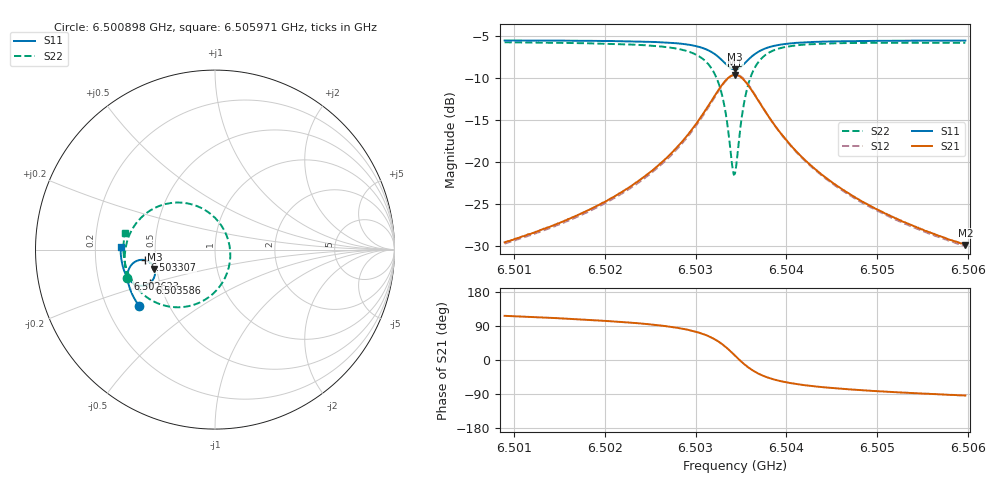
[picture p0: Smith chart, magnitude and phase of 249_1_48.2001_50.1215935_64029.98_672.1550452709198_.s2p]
#  HZ  S  RI  R  50.00
! Rohde & Schwarz Vector Network Analyzer
! Rohde-Schwarz,ZNB20-2Port,1311601062101988,3.16
! Created: UTC 3/20/2024, 11:47:10 AM
! freq[Hz]  re:S11  im:S11  re:S21  im:S21  re:S12  im:S12  re:S22  im:S22
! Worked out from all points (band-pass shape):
!   401 points, 6.500898 GHz to 6.505971 GHz, reference 50 ohm
!   highest |S21| = -9.67 dB at 6.503434 GHz (marker M1); lowest = -29.9 dB at 6.505971 GHz (marker M2)
!   |S21| within 3 dB of the highest: 6.503181 GHz to 6.503688 GHz (507.3 kHz wide, 0.0078 % of centre)
!   lowest |S11| = -9.0 dB at 6.503434 GHz (marker M3), VSWR 2.10, Z = 24.3 - j5.98 ohm
!   |S11| at or under -10 dB: nowhere
!   |S22| runs from -21.5 to -5.8 dB; largest |S21 - S12| = 0.011
!   S11 on the Smith chart (normalised r, x): 6.500898 GHz: 0.34, -0.29; 6.502623 GHz: 0.33, -0.15; 6.503307 GHz: 0.44, -0.06; 6.503586 GHz: 0.44, -0.20; 6.505971 GHz: 0.31, +0.01
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6.5008977e9  -0.4237 -0.3125  -0.0149 0.0297  -0.0133 0.0298  -0.4885 -0.1588
6.5017474e9  -0.4606 -0.2501  -0.0144 0.0473  -0.0119 0.0469  -0.5025 -0.0692
6.5022421e9  -0.4781 -0.2064  -0.0111 0.068  -0.00816 0.067  -0.4992 0.000904
6.5025972e9  -0.4867 -0.167  -0.00256 0.096  0.00108 0.0937  -0.4808 0.0721
6.5026226e9  -0.487 -0.1638  -0.00147 0.0987  0.00221 0.0963  -0.4783 0.0782
6.5029143e9  -0.4833 -0.1193  0.0255 0.1424  0.0294 0.138  -0.4219 0.1672
6.5031045e9  -0.4621 -0.0812  0.0796 0.1844  0.0821 0.1782  -0.3185 0.2397
6.5032187e9  -0.4297 -0.0606  0.1486 0.2018  0.1495 0.1957  -0.1944 0.262
6.5033074e9  -0.3894 -0.0588  0.228 0.1856  0.2283 0.1805  -0.0573 0.2212
6.5033455e9  -0.3702 -0.0664  0.2642 0.1624  0.2651 0.1578  0.00261 0.1744
6.5034089e9  -0.3435 -0.0931  0.3117 0.0984  0.3143 0.0935  0.0742 0.051
6.5034343e9  -0.3372 -0.1077  0.3219 0.0663  0.3249 0.0604  0.0846 -0.00908
6.5034596e9  -0.3344 -0.1234  0.3254 0.0325  0.3288 0.0256  0.0824 -0.0705
6.503523e9  -0.3415 -0.1604  0.307 -0.0451  0.3091 -0.0551  0.0265 -0.2053
6.5035865e9  -0.3628 -0.1863  0.2638 -0.099  0.2627 -0.1102  -0.0705 -0.2878
6.5036879e9  -0.4023 -0.2013  0.1896 -0.1349  0.1839 -0.1442  -0.2203 -0.321
6.5038528e9  -0.4482 -0.1917  0.1079 -0.1316  0.101 -0.1366  -0.3669 -0.2743
6.5040304e9  -0.4755 -0.1703  0.0635 -0.1116  0.0574 -0.1138  -0.4388 -0.2093
6.504284e9  -0.4963 -0.1403  0.0337 -0.0873  0.0291 -0.0878  -0.4816 -0.1374
6.5046518e9  -0.5114 -0.102  0.0154 -0.0649  0.0119 -0.0645  -0.5038 -0.0645
6.5051338e9  -0.5213 -0.0576  0.00492 -0.0479  0.00266 -0.047  -0.5102 0.00331
6.5059709e9  -0.5259 0.0133  -0.00208 -0.0319  -0.00337 -0.0313  -0.502 0.0912
